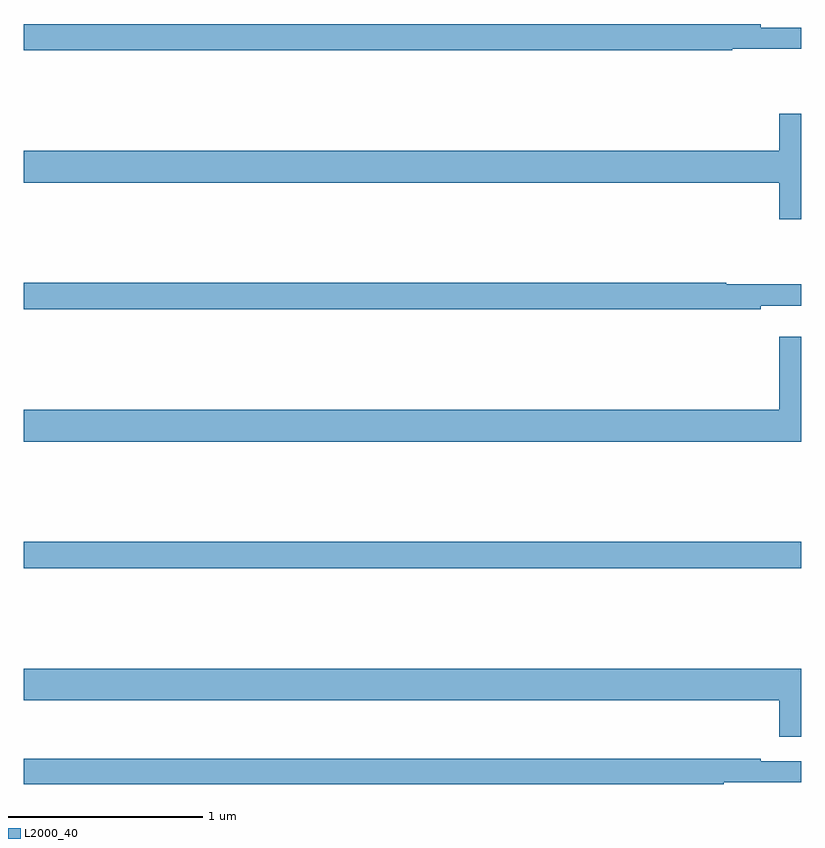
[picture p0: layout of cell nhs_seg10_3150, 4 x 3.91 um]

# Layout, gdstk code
import gdstk
lib = gdstk.Library(unit=1e-6, precision=1e-09)
def R(c, l, rs):  # rectangles x0, y0, x1, y1
    for r in rs: c.add(gdstk.rectangle(r[:2], r[2:], *l))
def P(c, l, *ps):  # polygons
    for p in ps: c.add(gdstk.Polygon(p, *l))
L2000_40 = (2000, 40)

nhs_seg10_3150 = lib.new_cell('nhs_seg10_3150')
R(nhs_seg10_3150, L2000_40, [(281,1323.64,285,1323.776)])
P(nhs_seg10_3150, L2000_40, [(284.645,1326.312),(285,1326.312),(285,1326.421),(284.792,1326.421),(284.792,1326.44),(281,1326.44),(281,1326.304),(284.645,1326.304)],
  [(285,1325.977),(284.888,1325.977),(284.888,1325.788),(281,1325.788),(281,1325.624),(284.888,1325.624),(284.888,1325.436),(285,1325.436)],
  [(284.792,1324.991),(285,1324.991),(285,1325.101),(284.614,1325.101),(284.614,1325.108),(281,1325.108),(281,1324.972),(284.792,1324.972)],
  [(285,1324.831),(284.888,1324.831),(284.888,1324.456),(281,1324.456),(281,1324.292),(285,1324.292)],
  [(285,1323.124),(281,1323.124),(281,1322.96),(284.888,1322.96),(284.888,1322.772),(285,1322.772)],
  [(284.602,1322.538),(285,1322.538),(285,1322.646),(284.792,1322.646),(284.792,1322.659),(281,1322.659),(281,1322.53),(284.602,1322.53)])

lib.write_gds('nhs_seg10_3150.gds')
